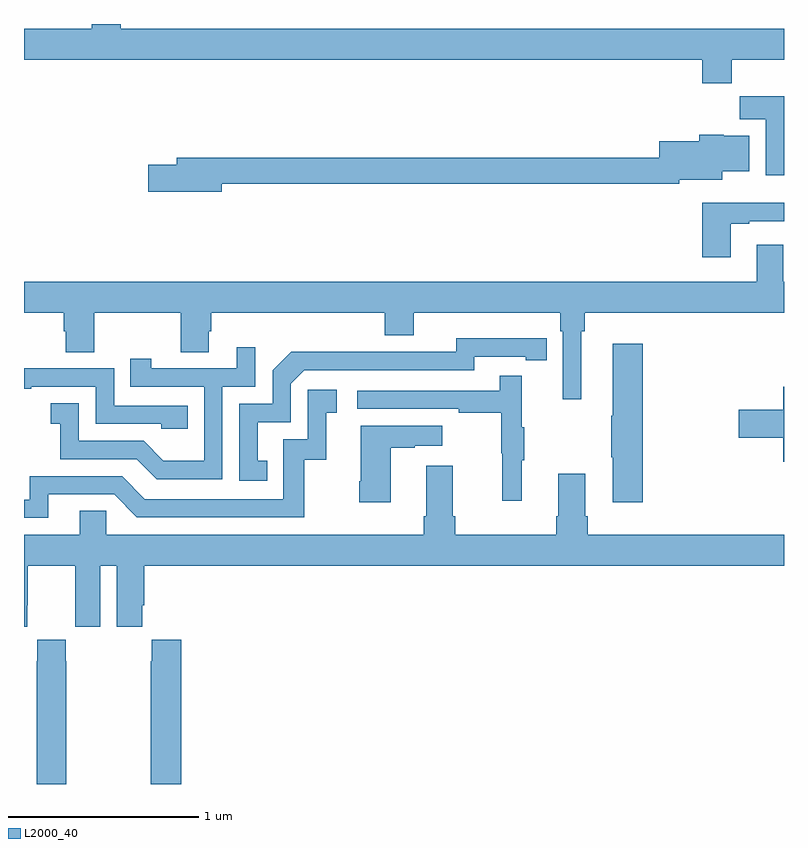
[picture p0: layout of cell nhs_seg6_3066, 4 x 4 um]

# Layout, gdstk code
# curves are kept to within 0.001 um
import gdstk
lib = gdstk.Library(unit=1e-6, precision=1e-09)
def P(c, l, *ps):  # polygons
    for p in ps: c.add(gdstk.Polygon(p, *l))
L2000_40 = (2000, 40)

nhs_seg6_3066 = lib.new_cell('nhs_seg6_3066')
P(nhs_seg6_3066, L2000_40, [(294.725,971.312),(295,971.312),(295,971.476),(291.508,971.476),(291.508,971.5),(291.356,971.5),(291.356,971.476),(291,971.476),(291,971.312),(294.569,971.312),(294.569,971.188),(294.725,971.188)],
  [(295,971.119),(294.766,971.119),(294.766,971),(294.905,971),(294.905,970.704),(295,970.704)],
  [(292.042,970.66),(294.448,970.66),(294.448,970.679),(294.676,970.679),(294.676,970.724),(294.817,970.724),(294.817,970.912),(294.684,970.912),(294.684,970.918),(294.554,970.918),(294.554,970.882),(294.344,970.882),(294.344,970.796),(291.803,970.796),(291.803,970.76),(291.654,970.76),(291.654,970.618),(292.042,970.618)],
  [(294.721,970.449),(294.817,970.449),(294.817,970.461),(295,970.461),(295,970.558),(294.569,970.558),(294.569,970.272),(294.721,970.272)],
  [(293.932,969.884),(293.951,969.884),(293.951,969.98),(295,969.98),(295,970.144),(294.997,970.144),(294.997,970.339),(294.857,970.339),(294.857,970.144),(291,970.144),(291,969.98),(291.209,969.98),(291.209,969.882),(291.221,969.882),(291.221,969.772),(291.369,969.772),(291.369,969.98),(291.826,969.98),(291.826,969.772),(291.973,969.772),(291.973,969.882),(291.986,969.882),(291.986,969.98),(292.898,969.98),(292.898,969.863),(293.05,969.863),(293.05,969.98),(293.822,969.98),(293.822,969.884),(293.835,969.884),(293.835,969.525),(293.932,969.525)],
  [(292.28,969.201),(292.231,969.201),(292.231,969.405),(292.404,969.405),(292.404,969.606),(292.476,969.678),(293.37,969.678),(293.37,969.75),(293.642,969.75),(293.642,969.73),(293.75,969.73),(293.75,969.846),(293.274,969.847),(293.274,969.774),(292.814,969.774),(292.814,969.776),(292.406,969.776),(292.308,969.678),(292.308,969.501),(292.134,969.501),(292.134,969.096),(292.28,969.096)],
  [(294.257,969.817),(294.098,969.817),(294.098,969.437),(294.091,969.437),(294.091,969.22),(294.098,969.22),(294.098,968.982),(294.257,968.982)],
  [(292.044,969.591),(292.218,969.591),(292.218,969.799),(292.121,969.799),(292.121,969.687),(291.67,969.687),(291.67,969.739),(291.559,969.739),(291.559,969.591),(291.948,969.591),(291.948,969.202),(291.734,969.202),(291.63,969.306),(291.288,969.306),(291.288,969.505),(291.141,969.505),(291.141,969.395),(291.19,969.395),(291.19,969.21),(291.593,969.21),(291.698,969.105),(292.044,969.105)],
  [(291.863,969.492),(291.474,969.492),(291.474,969.687),(291,969.687),(291,969.579),(291.037,969.579),(291.037,969.591),(291.378,969.591),(291.378,969.396),(291.723,969.396),(291.723,969.369),(291.863,969.369)],
  [(293.621,969.203),(293.632,969.203),(293.632,969.377),(293.621,969.377),(293.621,969.649),(293.503,969.649),(293.503,969.57),(292.755,969.57),(292.755,969.474),(293.287,969.474),(293.287,969.454),(293.511,969.454),(293.511,969.24),(293.518,969.24),(293.518,968.991),(293.621,968.991)],
  [(295,969.591),(294.995,969.591),(294.995,969.47),(294.762,969.47),(294.762,969.323),(294.995,969.323),(294.995,969.195),(295,969.195)],
  [(291.127,969.024),(291.474,969.024),(291.594,968.904),(292.474,968.904),(292.474,969.207),(292.592,969.207),(292.592,969.453),(292.645,969.453),(292.645,969.574),(292.494,969.574),(292.494,969.315),(292.365,969.315),(292.365,969),(291.636,969),(291.516,969.12),(291.03,969.12),(291.03,968.997),(291,968.997),(291,968.901),(291.127,968.901)],
  [(292.93,969.271),(293.057,969.271),(293.057,969.281),(293.2,969.281),(293.2,969.385),(292.772,969.385),(292.772,969.094),(292.765,969.094),(292.765,968.982),(292.93,968.982)],
  [(291.018,968.44),(291.019,968.44),(291.019,968.648),(291.269,968.648),(291.269,968.44),(291.27,968.44),(291.27,968.328),(291.4,968.328),(291.4,968.648),(291.488,968.648),(291.488,968.328),(291.622,968.328),(291.622,968.44),(291.632,968.44),(291.632,968.648),(295,968.648),(295,968.812),(293.966,968.812),(293.966,968.908),(293.953,968.908),(293.953,969.133),(293.813,969.133),(293.813,968.908),(293.801,968.908),(293.801,968.812),(293.27,968.812),(293.27,968.908),(293.257,968.908),(293.257,969.175),(293.117,969.175),(293.117,968.908),(293.105,968.908),(293.105,968.812),(291.432,968.812),(291.432,968.939),(291.293,968.939),(291.293,968.812),(291,968.812),(291,968.328),(291.018,968.328)],
  [(291.827,968.26),(291.673,968.26),(291.673,968.147),(291.667,968.147),(291.667,967.5),(291.827,967.5)],
  [(291.222,968.147),(291.219,968.147),(291.219,968.26),(291.069,968.26),(291.069,968.147),(291.067,968.147),(291.067,967.5),(291.222,967.5)])

lib.write_gds('nhs_seg6_3066.gds')
